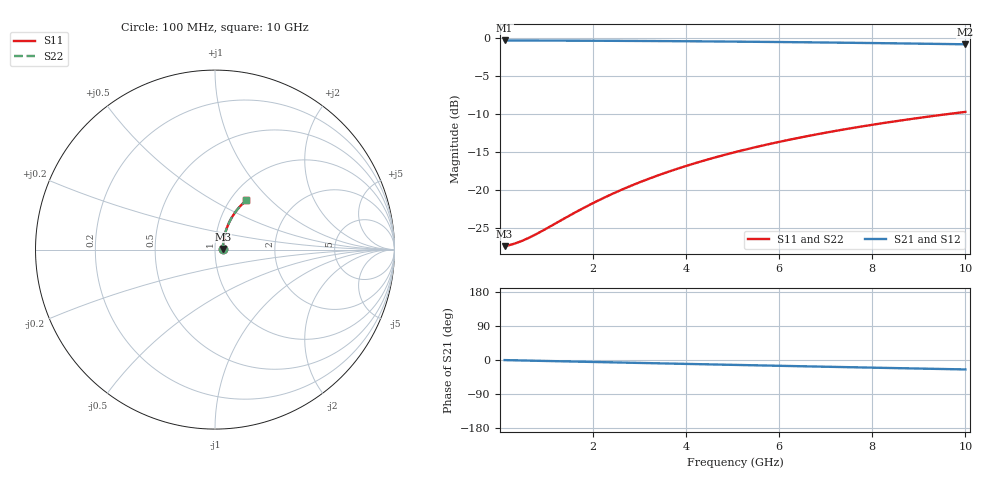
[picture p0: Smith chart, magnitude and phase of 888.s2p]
# Hz S RI R 50.00
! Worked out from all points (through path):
!   100 points, 100 MHz to 10 GHz, reference 50 ohm
!   highest |S21| = -0.38 dB at 100 MHz (marker M1); lowest = -0.9 dB at 10 GHz (marker M2)
!   group delay of S21, straight-line fit = 6.94 ps
!   lowest |S11| = -27.4 dB at 100 MHz (marker M3), VSWR 1.09, Z = 54.5 + j0.357 ohm
!   |S11| at or under -10 dB: start of sweep to 9.679 GHz
!   |S22| runs from -27.4 to -9.8 dB; largest |S21 - S12| = 0
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1e8  0.0426 0.00327  0.9574 -0.00433  0.9574 -0.00433  0.0426 0.00327
3e8  0.0432 0.0098  0.9568 -0.013  0.9568 -0.013  0.0432 0.0098
4e8  0.0435 0.0131  0.9565 -0.0173  0.9565 -0.0173  0.0435 0.0131
6e8  0.044 0.0196  0.9559 -0.0259  0.9559 -0.0259  0.044 0.0196
9e8  0.045 0.0293  0.955 -0.0388  0.955 -0.0388  0.045 0.0293
1.5e9  0.0475 0.0487  0.9523 -0.0645  0.9523 -0.0645  0.0475 0.0487
1.8e9  0.0491 0.0583  0.9507 -0.0773  0.9507 -0.0773  0.0491 0.0583
2.2e9  0.0517 0.071  0.948 -0.0943  0.948 -0.0943  0.0517 0.071
2.6e9  0.0546 0.0836  0.945 -0.1111  0.945 -0.1111  0.0546 0.0836
3e9  0.058 0.0961  0.9415 -0.1278  0.9415 -0.1278  0.058 0.0961
3.4e9  0.0618 0.1084  0.9375 -0.1443  0.9375 -0.1443  0.0618 0.1084
3.8e9  0.066 0.1205  0.9331 -0.1607  0.9331 -0.1607  0.066 0.1205
4.2e9  0.0706 0.1324  0.9283 -0.1768  0.9283 -0.1768  0.0706 0.1324
4.6e9  0.0756 0.1441  0.9231 -0.1928  0.9231 -0.1928  0.0756 0.1441
5.1e9  0.0824 0.1584  0.916 -0.2124  0.916 -0.2124  0.0824 0.1584
5.5e9  0.0883 0.1695  0.9099 -0.2278  0.9099 -0.2278  0.0883 0.1695
5.9e9  0.0945 0.1804  0.9034 -0.2429  0.9034 -0.2429  0.0945 0.1804
6.7e9  0.1079 0.2013  0.8894 -0.2724  0.8894 -0.2724  0.1079 0.2013
7.5e9  0.1226 0.2211  0.8741 -0.3006  0.8741 -0.3006  0.1226 0.2211
8.4e9  0.1404 0.2417  0.8555 -0.3309  0.8555 -0.3309  0.1404 0.2417
9.2e9  0.1572 0.2587  0.8379 -0.3564  0.8379 -0.3564  0.1572 0.2587
1e10  0.1748 0.2742  0.8193 -0.3805  0.8193 -0.3805  0.1748 0.2742
